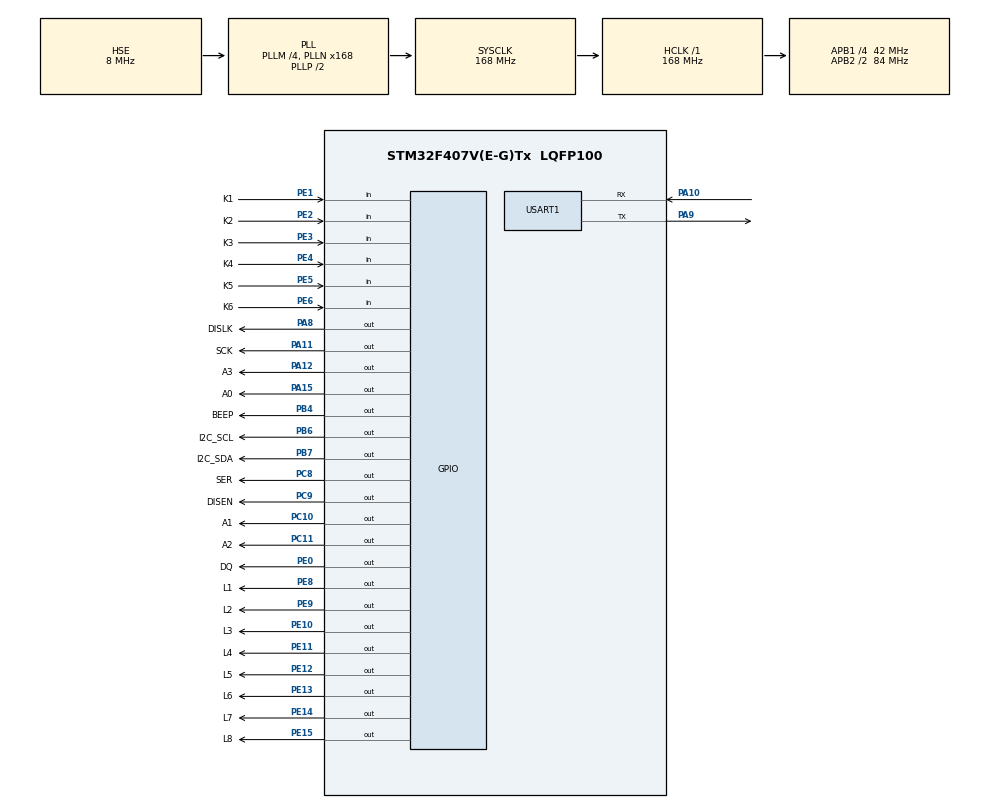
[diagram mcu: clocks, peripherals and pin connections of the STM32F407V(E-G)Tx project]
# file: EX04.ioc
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Dma.Request0=USART1_RX
Dma.USART1_RX.0.Direction=DMA_PERIPH_TO_MEMORY
Dma.USART1_RX.0.FIFOMode=DMA_FIFOMODE_DISABLE
Dma.USART1_RX.0.Instance=DMA2_Stream2
Dma.USART1_RX.0.MemDataAlignment=DMA_MDATAALIGN_BYTE
Dma.USART1_RX.0.MemInc=DMA_MINC_ENABLE
Dma.USART1_RX.0.Mode=DMA_NORMAL
Dma.USART1_RX.0.PeriphDataAlignment=DMA_PDATAALIGN_BYTE
Dma.USART1_RX.0.PeriphInc=DMA_PINC_DISABLE
Dma.USART1_RX.0.Priority=DMA_PRIORITY_LOW
FREERTOS.Tasks01=TaskMain,24,256,StartTaskLED,Default,NULL,Dynamic,NULL,NULL;TaskUART,8,256,StartTaskUART,Default,NULL,Dynamic,NULL,NULL;TaskKEY,8,256,StartTaskKEY,Default,NULL,Dynamic,NULL,NULL;TaskGUI,8,128,StartTaskGUI,Default,NULL,Dynamic,NULL,NULL;TaskBEEP,8,128,StartTaskBEEP,Default,NULL,Dynamic,NULL,NULL
Mcu.Family=STM32F4
Mcu.Name=STM32F407V(E-G)Tx
Mcu.Package=LQFP100
NVIC.DMA2_Stream2_IRQn=true\:5\:0\:false\:false\:true\:true\:false\:true
NVIC.PriorityGroup=NVIC_PRIORITYGROUP_4
NVIC.TIM1_BRK_TIM9_IRQn=true\:0\:0\:false\:false\:true\:false\:false\:true
NVIC.TimeBase=TIM1_BRK_TIM9_IRQn
NVIC.TimeBaseIP=TIM9
NVIC.USART1_IRQn=true\:5\:0\:false\:false\:true\:true\:true\:true
PA10.Mode=Asynchronous
PA10.Signal=USART1_RX
PA11.GPIO_Label=SCK
PA11.Signal=GPIO_Output
PA12.GPIO_Label=A3
PA12.Signal=GPIO_Output
PA13.Mode=Serial_Wire
PA13.Signal=SYS_JTMS-SWDIO
PA14.Mode=Serial_Wire
PA14.Signal=SYS_JTCK-SWCLK
PA15.GPIO_Label=A0
PA15.Signal=GPIO_Output
PA8.GPIO_Label=DISLK
PA8.Signal=GPIO_Output
PA9.Mode=Asynchronous
PA9.Signal=USART1_TX
PB4.GPIO_Label=BEEP
PB4.Signal=GPIO_Output
PB6.GPIO_Label=I2C_SCL
PB6.Signal=GPIO_Output
PB7.GPIO_Label=I2C_SDA
PB7.Signal=GPIO_Output
PC10.GPIO_Label=A1
PC10.Signal=GPIO_Output
PC11.GPIO_Label=A2
PC11.Signal=GPIO_Output
PC8.GPIO_Label=SER
PC8.Signal=GPIO_Output
PC9.GPIO_Label=DISEN
PC9.Signal=GPIO_Output
PE0.GPIO_Label=DQ
PE0.Signal=GPIO_Output
PE1.GPIO_Label=K1
PE1.GPIO_PuPd=GPIO_PULLUP
PE1.Signal=GPIO_Input
PE10.GPIO_Label=L3
PE10.GPIO_ModeDefaultOutputPP=GPIO_MODE_OUTPUT_PP
PE10.GPIO_PuPd=GPIO_NOPULL
PE10.GPIO_Speed=GPIO_SPEED_FREQ_LOW
PE10.PinState=GPIO_PIN_SET
PE10.Signal=GPIO_Output
PE11.GPIO_Label=L4
PE11.GPIO_ModeDefaultOutputPP=GPIO_MODE_OUTPUT_PP
PE11.GPIO_PuPd=GPIO_NOPULL
PE11.GPIO_Speed=GPIO_SPEED_FREQ_LOW
PE11.PinState=GPIO_PIN_SET
PE11.Signal=GPIO_Output
PE12.GPIO_Label=L5
PE12.GPIO_ModeDefaultOutputPP=GPIO_MODE_OUTPUT_PP
PE12.GPIO_PuPd=GPIO_NOPULL
PE12.GPIO_Speed=GPIO_SPEED_FREQ_LOW
PE12.PinState=GPIO_PIN_SET
PE12.Signal=GPIO_Output
PE13.GPIO_Label=L6
PE13.GPIO_ModeDefaultOutputPP=GPIO_MODE_OUTPUT_PP
PE13.GPIO_PuPd=GPIO_NOPULL
PE13.GPIO_Speed=GPIO_SPEED_FREQ_LOW
PE13.PinState=GPIO_PIN_SET
PE13.Signal=GPIO_Output
PE14.GPIO_Label=L7
PE14.GPIO_ModeDefaultOutputPP=GPIO_MODE_OUTPUT_PP
PE14.GPIO_PuPd=GPIO_NOPULL
PE14.GPIO_Speed=GPIO_SPEED_FREQ_LOW
PE14.PinState=GPIO_PIN_SET
PE14.Signal=GPIO_Output
PE15.GPIO_Label=L8
PE15.GPIO_ModeDefaultOutputPP=GPIO_MODE_OUTPUT_PP
PE15.GPIO_PuPd=GPIO_NOPULL
PE15.GPIO_Speed=GPIO_SPEED_FREQ_LOW
PE15.PinState=GPIO_PIN_SET
PE15.Signal=GPIO_Output
PE2.GPIO_Label=K2
PE2.GPIO_PuPd=GPIO_PULLUP
PE2.Signal=GPIO_Input
PE3.GPIO_Label=K3
PE3.GPIO_PuPd=GPIO_PULLUP
PE3.Signal=GPIO_Input
PE4.GPIO_Label=K4
PE4.GPIO_PuPd=GPIO_PULLUP
PE4.Signal=GPIO_Input
PE5.GPIO_Label=K5
PE5.GPIO_PuPd=GPIO_PULLDOWN
PE5.Signal=GPIO_Input
PE6.GPIO_Label=K6
PE6.GPIO_PuPd=GPIO_PULLDOWN
PE6.Signal=GPIO_Input
PE8.GPIO_Label=L1
PE8.GPIO_ModeDefaultOutputPP=GPIO_MODE_OUTPUT_PP
PE8.GPIO_PuPd=GPIO_NOPULL
PE8.GPIO_Speed=GPIO_SPEED_FREQ_LOW
PE8.PinState=GPIO_PIN_SET
PE8.Signal=GPIO_Output
PE9.GPIO_Label=L2
PE9.GPIO_ModeDefaultOutputPP=GPIO_MODE_OUTPUT_PP
PE9.GPIO_PuPd=GPIO_NOPULL
PE9.GPIO_Speed=GPIO_SPEED_FREQ_LOW
PE9.PinState=GPIO_PIN_SET
PE9.Signal=GPIO_Output
PH0-OSC_IN.Mode=HSE-External-Oscillator
PH0-OSC_IN.Signal=RCC_OSC_IN
PH1-OSC_OUT.Mode=HSE-External-Oscillator
PH1-OSC_OUT.Signal=RCC_OSC_OUT
ProjectManager.HeapSize=0x200
ProjectManager.StackSize=0x400
ProjectManager.TargetToolchain=MDK-ARM V5.27
RCC.48MHZClocksFreq_Value=84000000
RCC.AHBFreq_Value=168000000
RCC.APB1CLKDivider=RCC_HCLK_DIV4
RCC.APB1Freq_Value=42000000
RCC.APB1TimFreq_Value=84000000
RCC.APB2CLKDivider=RCC_HCLK_DIV2
RCC.APB2Freq_Value=84000000
RCC.APB2TimFreq_Value=168000000
RCC.CortexFreq_Value=168000000
RCC.HCLKFreq_Value=168000000
RCC.HSE_VALUE=8000000
RCC.HSI_VALUE=16000000
RCC.LSE_VALUE=32768
RCC.PLLM=4
RCC.PLLN=168
RCC.PLLSourceVirtual=RCC_PLLSOURCE_HSE
RCC.SYSCLKFreq_VALUE=168000000
RCC.SYSCLKSource=RCC_SYSCLKSOURCE_PLLCLK
RCC.VCOOutputFreq_Value=336000000
USART1.VirtualMode=VM_ASYNC
VP_FREERTOS_VS_CMSIS_V2.Mode=CMSIS_V2
VP_SYS_VS_tim9.Mode=TIM9
board=custom

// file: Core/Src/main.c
/* USER CODE BEGIN Header */
/**
  ******************************************************************************
  * @file           : main.c
  * @brief          : Main program body
  ******************************************************************************
  * @attention
  *
  * <h2><center>&copy; Copyright (c) 2021 STMicroelectronics.
  * All rights reserved.</center></h2>
  *
  * This software component is licensed by ST under Ultimate Liberty license
  * SLA0044, the "License"; You may not use this file except in compliance with
  * the License. You may obtain a copy of the License at:
  *                             www.st.com/SLA0044
  *
  ******************************************************************************
  */
/* USER CODE END Header */
#include "main.h"
#include "cmsis_os.h"
#include "dma.h"
#include "usart.h"
#include "gpio.h"

void SystemClock_Config(void);
void MX_FREERTOS_Init(void);

int main(void)
{

  /* MCU Configuration--------------------------------------------------------*/

  /* Reset of all peripherals, Initializes the Flash interface and the Systick. */
  HAL_Init();

  /* Configure the system clock */
  SystemClock_Config();

  /* Initialize all configured peripherals */
  MX_GPIO_Init();
  MX_DMA_Init();
  MX_USART1_UART_Init();

  /* Init scheduler */
  osKernelInitialize();  /* Call init function for freertos objects (in freertos.c) */
  MX_FREERTOS_Init();
  /* Start scheduler */
  osKernelStart();

  /* We should never get here as control is now taken by the scheduler */
  /* Infinite loop */
  while (1)
  {

  }
}

void SystemClock_Config(void)
{
  RCC_OscInitTypeDef RCC_OscInitStruct = {0};
  RCC_ClkInitTypeDef RCC_ClkInitStruct = {0};

  /** Configure the main internal regulator output voltage
  */
  __HAL_RCC_PWR_CLK_ENABLE();
  __HAL_PWR_VOLTAGESCALING_CONFIG(PWR_REGULATOR_VOLTAGE_SCALE1);
  /** Initializes the RCC Oscillators according to the specified parameters
  * in the RCC_OscInitTypeDef structure.
  */
  RCC_OscInitStruct.OscillatorType = RCC_OSCILLATORTYPE_HSE;
  RCC_OscInitStruct.HSEState = RCC_HSE_ON;
  RCC_OscInitStruct.PLL.PLLState = RCC_PLL_ON;
  RCC_OscInitStruct.PLL.PLLSource = RCC_PLLSOURCE_HSE;
  RCC_OscInitStruct.PLL.PLLM = 4;
  RCC_OscInitStruct.PLL.PLLN = 168;
  RCC_OscInitStruct.PLL.PLLP = RCC_PLLP_DIV2;
  RCC_OscInitStruct.PLL.PLLQ = 4;
  if (HAL_RCC_OscConfig(&RCC_OscInitStruct) != HAL_OK)
  {
    Error_Handler();
  }
  /** Initializes the CPU, AHB and APB buses clocks
  */
  RCC_ClkInitStruct.ClockType = RCC_CLOCKTYPE_HCLK|RCC_CLOCKTYPE_SYSCLK
                              |RCC_CLOCKTYPE_PCLK1|RCC_CLOCKTYPE_PCLK2;
  RCC_ClkInitStruct.SYSCLKSource = RCC_SYSCLKSOURCE_PLLCLK;
  RCC_ClkInitStruct.AHBCLKDivider = RCC_SYSCLK_DIV1;
  RCC_ClkInitStruct.APB1CLKDivider = RCC_HCLK_DIV4;
  RCC_ClkInitStruct.APB2CLKDivider = RCC_HCLK_DIV2;

  if (HAL_RCC_ClockConfig(&RCC_ClkInitStruct, FLASH_LATENCY_5) != HAL_OK)
  {
    Error_Handler();
  }
}

 /**
  * @brief  Period elapsed callback in non blocking mode
  * @note   This function is called  when TIM9 interrupt took place, inside
  * HAL_TIM_IRQHandler(). It makes a direct call to HAL_IncTick() to increment
  * a global variable "uwTick" used as application time base.
  * @param  htim : TIM handle
  * @retval None
  */
void HAL_TIM_PeriodElapsedCallback(TIM_HandleTypeDef *htim)
{
  if (htim->Instance == TIM9) {
    HAL_IncTick();
  }
}

void Error_Handler(void)
{
  __disable_irq();
  while (1)
  {
  }
}

/************************ (C) COPYRIGHT STMicroelectronics *****END OF FILE****/

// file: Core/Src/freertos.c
/* USER CODE BEGIN Header */
/**
  ******************************************************************************
  * File Name          : freertos.c
  * Description        : Code for freertos applications
  ******************************************************************************
  * @attention
  *
  * <h2><center>&copy; Copyright (c) 2021 STMicroelectronics.
  * All rights reserved.</center></h2>
  *
  * This software component is licensed by ST under Ultimate Liberty license
  * SLA0044, the "License"; You may not use this file except in compliance with
  * the License. You may obtain a copy of the License at:
  *                             www.st.com/SLA0044
  *
  ******************************************************************************
  */
/* USER CODE END Header */

#include "FreeRTOS.h"
#include "task.h"
#include "main.h"
#include "cmsis_os.h"

/* USER CODE BEGIN Includes */
#include "GUI.h"
#include "led.h"
//usart
#include "usart.h"
#include "stdio.h"
#include "string.h"

/* USER CODE END Includes */

/* USER CODE BEGIN PM */
#define UI_LOGO 0
#define UI_MAIN 1
#define UI_LSD  2
#define UI_KEY  3
#define UI_USART 4
/* USER CODE END PM */

/* USER CODE BEGIN Variables */
extern GUI_FLASH const GUI_FONT GUI_FontHZ_KaiTi_24;
extern GUI_FLASH const GUI_FONT GUI_FontHZ_KaiTi_16;
extern GUI_FLASH const GUI_FONT GUI_FontHZ_KaiTi_12;
extern GUI_FLASH const GUI_FONT GUI_FontHZ_SimSun_16;
extern GUI_CONST_STORAGE GUI_BITMAP bm2;

uint8_t g_ui_indx = UI_LOGO;
uint8_t g_ui_select = UI_LSD;

static uint8_t flag = 0;
static uint8_t logo_flag = 0;
uint16_t beep_time;
uint8_t  beep_tune;

//led
uint8_t led_run=1; //运行
uint8_t led_sta=0x01;
//key
extern uint8_t key_sta;

//uart
#define MAX_RECV_LEN 256
#define MAX_LINE_SIZE 22
#define MAX_PAGE_LINE 6

uint8_t rx1_buff[MAX_RECV_LEN] = {0};
uint8_t recv_buff[MAX_RECV_LEN] = {0};//接收字符串缓存
uint8_t *pBuf;
uint8_t line_flag = 0;
uint32_t recv_tick = 0;

char gui_uart_buff[MAX_LINE_SIZE*8*10] = {0};
char str_show[MAX_RECV_LEN] = {0};
uint8_t gui_uart_index = 0;

/* USER CODE END Variables */
/* Definitions for TaskLED */
osThreadId_t TaskLEDHandle;
const osThreadAttr_t TaskLED_attributes = {
  .name = "TaskLED",
  .stack_size = 256 * 4,
  .priority = (osPriority_t) osPriorityNormal,
};
/* Definitions for TaskUART */
osThreadId_t TaskUARTHandle;
const osThreadAttr_t TaskUART_attributes = {
  .name = "TaskUART",
  .stack_size = 256 * 4,
  .priority = (osPriority_t) osPriorityLow,
};
/* Definitions for TaskKEY */
osThreadId_t TaskKEYHandle;
const osThreadAttr_t TaskKEY_attributes = {
  .name = "TaskKEY",
  .stack_size = 256 * 4,
  .priority = (osPriority_t) osPriorityLow,
};
/* Definitions for TaskGUI */
osThreadId_t TaskGUIHandle;
const osThreadAttr_t TaskGUI_attributes = {
  .name = "TaskGUI",
  .stack_size = 128 * 4,
  .priority = (osPriority_t) osPriorityLow,
};
/* Definitions for TaskBEEP */
osThreadId_t TaskBEEPHandle;
const osThreadAttr_t TaskBEEP_attributes = {
  .name = "TaskBEEP",
  .stack_size = 128 * 4,
  .priority = (osPriority_t) osPriorityLow,
};

/* USER CODE BEGIN FunctionPrototypes */
void bmp_show(void);
void DrawUILOGO();
void DrawUIMAIN();
void DrawUIKEY();
void DrawUIUSART();
void DrawUILSD();
void beep(uint16_t time,uint8_t tune);

//key
void Key1Done();
void Key2Done();
void Key3Done();
void Key4Done();

//uart
void data_analyse(char old_str[MAX_RECV_LEN],char str_show[MAX_RECV_LEN],int len);
void StrFormat(char oldstr[MAX_RECV_LEN],char fmtstr[MAX_LINE_SIZE*8*10],int len);

/* USER CODE END FunctionPrototypes */

void StartTaskLED(void *argument);
void StartTaskUART(void *argument);
void StartTaskKEY(void *argument);
void StartTaskGUI(void *argument);
void StartTaskBEEP(void *argument);

void MX_FREERTOS_Init(void); /* (MISRA C 2004 rule 8.1) */

void MX_FREERTOS_Init(void) {

  /* Create the thread(s) */
  /* creation of TaskLED */
  TaskLEDHandle = osThreadNew(StartTaskLED, NULL, &TaskLED_attributes);

  /* creation of TaskUART */
  TaskUARTHandle = osThreadNew(StartTaskUART, NULL, &TaskUART_attributes);

  /* creation of TaskKEY */
  TaskKEYHandle = osThreadNew(StartTaskKEY, NULL, &TaskKEY_attributes);

  /* creation of TaskGUI */
  TaskGUIHandle = osThreadNew(StartTaskGUI, NULL, &TaskGUI_attributes);

  /* creation of TaskBEEP */
  TaskBEEPHandle = osThreadNew(StartTaskBEEP, NULL, &TaskBEEP_attributes);

}

void StartTaskLED(void *argument)
{
  /* USER CODE BEGIN StartTaskLED */

	Set_leds(led_sta);
  /* Infinite loop */
  for(;;)
  {
		if(led_run){
			if(led_sta<0x80){
				led_sta<<=1;
			}
			else{
				led_sta=0x01;
			}

			Set_leds(led_sta);
		}

    osDelay(50);
  }
  /* USER CODE END StartTaskLED */
}

void StartTaskUART(void *argument)
{
  /* USER CODE BEGIN StartTaskUART */
  /* Infinite loop */
//	printf("Hello Word!\r\n");
	pBuf = rx1_buff;
	HAL_UART_Receive_IT(&huart1,pBuf,1);
  /* Infinite loop */
  for(;;)
  {
//		if(line_flag)
//		{
//			printf("%s",rx1_buff);
//			memset(rx1_buff,0,MAX_RECV_LEN);
//			line_flag = 0;
//		}
		if(recv_tick > 0 && osKernelGetTickCount() >= recv_tick + 20)
		{

			*pBuf = '\0';
			/*-----------------接收逻辑函数调用处---------------------*/
//			printf("%s\r\n",rx1_buff);
//			data_analyse((char*)rx1_buff,str_show,pBuf-rx1_buff+1);
//			memset(str_show,0,sizeof(MAX_RECV_LEN));

			memcpy(recv_buff,rx1_buff,pBuf-rx1_buff+1);
			gui_uart_index = 0;
			StrFormat((char*)recv_buff,gui_uart_buff,pBuf-rx1_buff-1);

//			printf("%s",recv_buff);
			/*--------------------------------------------------------*/

			pBuf = rx1_buff;
			recv_tick = 0;

		}
    osDelay(1);
  }
  /* USER CODE END StartTaskUART */
}

void StartTaskKEY(void *argument)
{
  /* USER CODE BEGIN StartTaskKEY */
	uint8_t key;
  /* Infinite loop */
  for(;;)
  {
		key=ScanKey();

		switch (key)
		{
			case KEY1:
				Key1Done();
				break;
			case KEY2:
				Key2Done();
				break;
			case KEY3:
				Key3Done();
				break;
			case KEY4:
				Key4Done();
				break;
			case KEY5:
				if(g_ui_indx == UI_USART){
					printf("KEY5\r\n");
				}
				g_ui_indx = UI_LOGO;
				break;
			case KEY6:
				if(g_ui_indx == UI_USART){
					printf("KEY6\r\n");
				}
				g_ui_indx = UI_MAIN;
				break;
			default:
				break;
		}
    osDelay(50);
  }
  /* USER CODE END StartTaskKEY */
}

void StartTaskGUI(void *argument)
{
  /* USER CODE BEGIN StartTaskGUI */
	GUI_Init();

	//question 1
//	bmp_show();
//	GUI_Update();
  /* Infinite loop */
  for(;;)
  {
		//question 2
		switch (g_ui_indx)
    {
    	case UI_LOGO:
				DrawUILOGO();
    		break;
    	case UI_MAIN:
				DrawUIMAIN();
    		break;
			case UI_LSD:
				DrawUILSD();
    		break;
    	case UI_KEY:
				DrawUIKEY();
    		break;
    	case UI_USART:
				DrawUIUSART();
    		break;
    	default:
    		break;
    }

    osDelay(1);
  }
  /* USER CODE END StartTaskGUI */
}

void StartTaskBEEP(void *argument)
{
  /* USER CODE BEGIN StartTaskBEEP */
  /* Infinite loop */
  for(;;)
  {
		if(osKernelGetTickCount()<beep_time){
			HAL_GPIO_TogglePin(BEEP_GPIO_Port,BEEP_Pin);
			for(volatile uint8_t i = 0;i<beep_tune;++i)
				for(volatile uint16_t j = 0;j<10000;++j);
		}
    osDelay(1);
  }
  /* USER CODE END StartTaskBEEP */
}

/* USER CODE BEGIN Application */
void bmp_show(void)
{
	if(!flag){
		GUI_DrawBitmap(&bm2,(128-bm2.XSize)/2,0);
		GUI_Update();
		osDelay(3000);
		GUI_Clear();

		GUI_SetFont(&GUI_FontHZ_KaiTi_16);
		GUI_DispStringAt("嵌入式系统实验\n 19042223\n 孙若松 ",0,0);

		GUI_Update();
		flag = 1;
	}

}

void DrawUILOGO()
{

		if(logo_flag == 0){
			GUI_Clear();
			GUI_DrawBitmap(&bm2,(128-bm2.XSize)/2,0);
			GUI_Update();
			osDelay(2000);
			GUI_Clear();
			logo_flag = 1;
		}

		GUI_Clear();
		GUI_SetFont(&GUI_FontHZ_KaiTi_16);
		GUI_DispStringAt("19042223\n 孙若松",0,0);
		GUI_Update();
		osDelay(2000);

		g_ui_indx = UI_MAIN;

}

void DrawUIMAIN()
{

		GUI_Clear();
		GUI_SetFont(&GUI_FontHZ_KaiTi_16);
		GUI_SetTextAlign(GUI_TA_CENTER);
		GUI_DispStringAt("主菜单",64,0);

		GUI_SetFont(&GUI_FontHZ_KaiTi_12);
		GUI_DispStringAt("流水灯",64-18,20);
		GUI_DispStringAt((g_ui_select == UI_LSD)? "*" : " ",10,20);
		GUI_DispStringAt("按键检测",64-18,34);
		GUI_DispStringAt((g_ui_select == UI_KEY)? "*" : " ",10,34);
		GUI_DispStringAt("串口通信",64-18,48);
		GUI_DispStringAt((g_ui_select == UI_USART)? "*" : " ",10,48);
		GUI_Update();

}

void DrawUIKEY()
{
		GUI_Clear();
		GUI_SetFont(&GUI_FontHZ_KaiTi_16);
		GUI_SetTextAlign(GUI_TA_CENTER);
		GUI_DispStringAt("按键检测",64,0);

		GUI_SetFont(&GUI_FontHZ_SimSun_16);
		GUI_DispStringAt((key_sta & KEY1)? "↓":"↑",2,20);
		GUI_DispStringAt((key_sta & KEY2)? "↓":"↑",20,20);
		GUI_DispStringAt((key_sta & KEY3)? "↓":"↑",38,20);
		GUI_DispStringAt((key_sta & KEY4)? "↓":"↑",56,20);
		GUI_DispStringAt((key_sta & KEY5)? "↓":"↑",74,20);
		GUI_DispStringAt((key_sta & KEY6)? "↓":"↑",92,20);

		GUI_Update();

}

void DrawUIUSART()
{
		GUI_Clear();
		GUI_SetFont(&GUI_FontHZ_KaiTi_16);
		GUI_SetTextAlign(GUI_TA_CENTER);
		GUI_DispStringAt("串口通信",40,0);

		char str[10];
		sprintf(str,"%d/10",gui_uart_index+1);
		GUI_DispStringAt(str,128-5*6-15,0);

		int i;
		GUI_SetFont(GUI_DEFAULT_FONT);
		for(i=0;i<MAX_PAGE_LINE;++i)
		{
			GUI_DispStringAt(gui_uart_buff + (gui_uart_index*MAX_PAGE_LINE+i)*MAX_LINE_SIZE,0,16+i*8);
		}
		GUI_Update();
}

void DrawUILSD()
{
		GUI_Clear();
		GUI_SetFont(&GUI_FontHZ_KaiTi_16);
		GUI_SetTextAlign(GUI_TA_CENTER);
		GUI_DispStringAt("流水灯",64,0);
		GUI_Update();

		//显示状态
		GUI_SetFont(&GUI_FontHZ_KaiTi_12);
		for(int i=0;i<8;++i)
		{
			GUI_DispStringAt((led_sta&(0x01<<i)) ? "*":" ",10+i*10,20);
		}
		GUI_Update();

}

void beep(uint16_t time,uint8_t tune)
{
	beep_time = time+osKernelGetTickCount();
	beep_tune = tune;
}

//按键响应函数
void Key1Done()
{
	switch (g_ui_indx)
	{
		case UI_MAIN:
			if(g_ui_select>UI_LSD)
				-- g_ui_select;
			break;
		case UI_USART:
			printf("KEY1\r\n");
			break;
		default:
			break;
	}
}

void Key2Done()
{
	switch (g_ui_indx)
	{
		case UI_USART:
			printf("KEY2\r\n");
			gui_uart_index = (gui_uart_index+1)%10;
			break;
		default:
			break;
	}
}

void Key3Done()
{
	switch (g_ui_indx)
	{
		case UI_MAIN:
			g_ui_indx = g_ui_select;
			break;
		case UI_USART:
			printf("KEY3\r\n");
			gui_uart_index = (gui_uart_index+9)%10;
			break;
		default:
			break;
	}
}

void Key4Done()
{
	switch (g_ui_indx)
	{
		case UI_MAIN:
			if(g_ui_select<UI_USART)
				++ g_ui_select;
		case UI_USART:
			printf("KEY4\r\n");
			break;
			break;
		default:
			break;
	}
}
//uart接收部分

void HAL_UART_RxCpltCallback(UART_HandleTypeDef *UartHandle)
{
	if(UartHandle->Instance == USART1)
	{
		++pBuf;
		if(pBuf == rx1_buff + MAX_RECV_LEN)
			pBuf = rx1_buff;

		recv_tick = osKernelGetTickCount();

		__HAL_UNLOCK(UartHandle);
		HAL_UART_Receive_IT(UartHandle,pBuf,1);
	}

}

//串口接收处理逻辑,用于显示较短字符串

void data_analyse(char old_str[MAX_RECV_LEN],char str_show[MAX_RECV_LEN],int len)
{
	int row = 0,num = 0;//每行12字符
	for(int i=0;i<len;i++)
	{
		str_show[i] = old_str[i+row];
		num ++;
		if(num == 12){
			num = 0;
			row++;
			str_show[i+1] = '\n';
		}
	}

}

//strFormat格式化函数
void StrFormat(char oldstr[MAX_RECV_LEN],char fmtstr[MAX_LINE_SIZE*8*10],int len)
{
	int i,j,row = 0,col = 0;
	memset(fmtstr,0,MAX_LINE_SIZE*8*10);

	for(i = 0;i<len;++i)
	{
		if(oldstr[i]!='\n' && oldstr[i] != '\r')
		{
			fmtstr[row*MAX_LINE_SIZE+col] = oldstr[i];
			++col;

			if(col >= MAX_LINE_SIZE-1)
			{
				row++;
				col = 0;
			}

		}
		else
		{
			if(i>0&&oldstr[i-1]!='\r'&&oldstr[i-1]!='\n')
				row++;
			col = 0;
		}

		if(row >= 10)
		{
			break;
		}
	}
}

/* USER CODE END Application */

/************************ (C) COPYRIGHT STMicroelectronics *****END OF FILE****/
